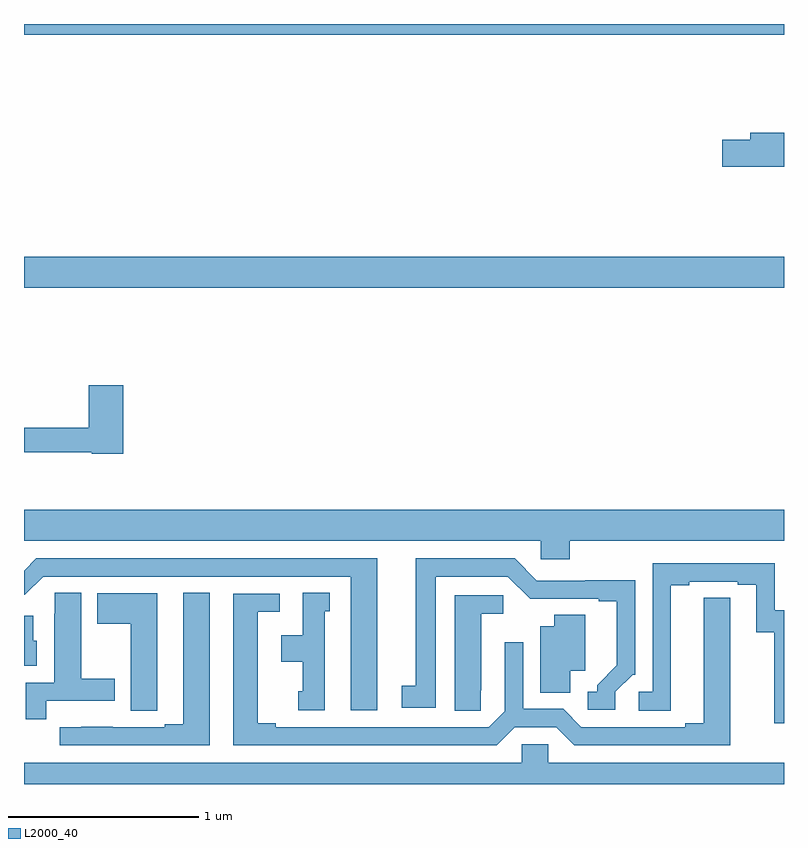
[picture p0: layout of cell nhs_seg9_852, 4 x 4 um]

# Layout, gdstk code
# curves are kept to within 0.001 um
import gdstk
lib = gdstk.Library(unit=1e-6, precision=1e-09)
def R(c, l, rs):  # rectangles x0, y0, x1, y1
    for r in rs: c.add(gdstk.rectangle(r[:2], r[2:], *l))
def P(c, l, *ps):  # polygons
    for p in ps: c.add(gdstk.Polygon(p, *l))
L2000_40 = (2000, 40)

nhs_seg9_852 = lib.new_cell('nhs_seg9_852')
R(nhs_seg9_852, L2000_40, [(157,1171.112,161,1171.276), (157,1172.444,161,1172.5)])
P(nhs_seg9_852, L2000_40, [(161,1171.928),(160.823,1171.928),(160.823,1171.892),(160.674,1171.892),(160.674,1171.75),(161,1171.75)],
  [(157.523,1170.598),(157.34,1170.598),(157.34,1170.374),(157,1170.374),(157,1170.246),(157.356,1170.246),(157.356,1170.238),(157.523,1170.238)],
  [(159.872,1169.78),(161,1169.78),(161,1169.944),(157,1169.944),(157,1169.78),(159.72,1169.78),(159.72,1169.682),(159.872,1169.682)],
  [(160.113,1168.986),(160.203,1169.076),(160.218,1169.076),(160.218,1169.573),(159.955,1169.573),(159.955,1169.571),(159.699,1169.571),(159.582,1169.688),(159.062,1169.688),(159.062,1169.018),(158.988,1169.018),(158.988,1168.902),(159.166,1168.902),(159.166,1169.592),(159.546,1169.592),(159.664,1169.474),(160.025,1169.475),(160.025,1169.463),(160.121,1169.463),(160.121,1169.126),(160.016,1169.021),(160.016,1168.986),(159.966,1168.986),(159.966,1168.89),(160.113,1168.89)],
  [(158.86,1169.688),(157.065,1169.688),(157,1169.623),(157,1169.496),(157.005,1169.496),(157.101,1169.592),(158.72,1169.592),(158.72,1168.887),(158.86,1168.887)],
  [(161,1169.415),(160.95,1169.415),(160.95,1169.661),(160.308,1169.661),(160.308,1168.986),(160.236,1168.986),(160.236,1168.885),(160.405,1168.885),(160.405,1169.545),(160.501,1169.545),(160.501,1169.565),(160.757,1169.565),(160.757,1169.55),(160.853,1169.55),(160.853,1169.299),(160.948,1169.299),(160.948,1168.821),(161,1168.821)],
  [(157.978,1169.507),(157.838,1169.507),(157.838,1168.815),(157.742,1168.815),(157.742,1168.8),(157.466,1168.8),(157.466,1168.801),(157.3,1168.801),(157.3,1168.8),(157.188,1168.8),(157.188,1168.704),(157.978,1168.704)],
  [(158.584,1169.409),(158.608,1169.409),(158.608,1169.507),(158.468,1169.507),(158.468,1169.284),(158.354,1169.284),(158.354,1169.144),(158.468,1169.144),(158.468,1168.989),(158.444,1168.989),(158.444,1168.887),(158.584,1168.887)],
  [(157.118,1168.938),(157.477,1168.938),(157.477,1169.055),(157.3,1169.055),(157.3,1169.507),(157.161,1169.507),(157.161,1169.396),(157.16,1169.396),(157.16,1169.034),(157.01,1169.034),(157.01,1168.842),(157.118,1168.842)],
  [(157.701,1168.993),(157.702,1168.993),(157.702,1169.503),(157.385,1169.503),(157.385,1169.344),(157.562,1169.344),(157.562,1168.885),(157.701,1168.885)],
  [(159.583,1168.8),(159.801,1168.8),(159.897,1168.704),(160.717,1168.704),(160.716,1169.48),(160.577,1169.48),(160.577,1168.82),(160.481,1168.82),(160.481,1168.8),(159.933,1168.8),(159.837,1168.896),(159.627,1168.896),(159.627,1169.245),(159.531,1169.245),(159.531,1168.884),(159.447,1168.8),(158.326,1168.8),(158.326,1168.82),(158.23,1168.82),(158.23,1169.406),(158.347,1169.406),(158.347,1169.502),(158.102,1169.502),(158.102,1168.704),(159.487,1168.704)],
  [(159.405,1168.993),(159.406,1168.993),(159.406,1169.396),(159.523,1169.396),(159.523,1169.493),(159.266,1169.493),(159.266,1168.885),(159.405,1168.885)],
  [(159.874,1169.096),(159.955,1169.096),(159.955,1169.39),(159.791,1169.39),(159.791,1169.329),(159.716,1169.329),(159.716,1168.981),(159.874,1168.981)],
  [(157.066,1169.253),(157.048,1169.253),(157.048,1169.386),(157,1169.386),(157,1169.123),(157.066,1169.123)],
  [(161,1168.612),(159.759,1168.612),(159.759,1168.71),(159.621,1168.71),(159.621,1168.612),(157,1168.612),(157,1168.5),(161,1168.5)])

lib.write_gds('nhs_seg9_852.gds')
